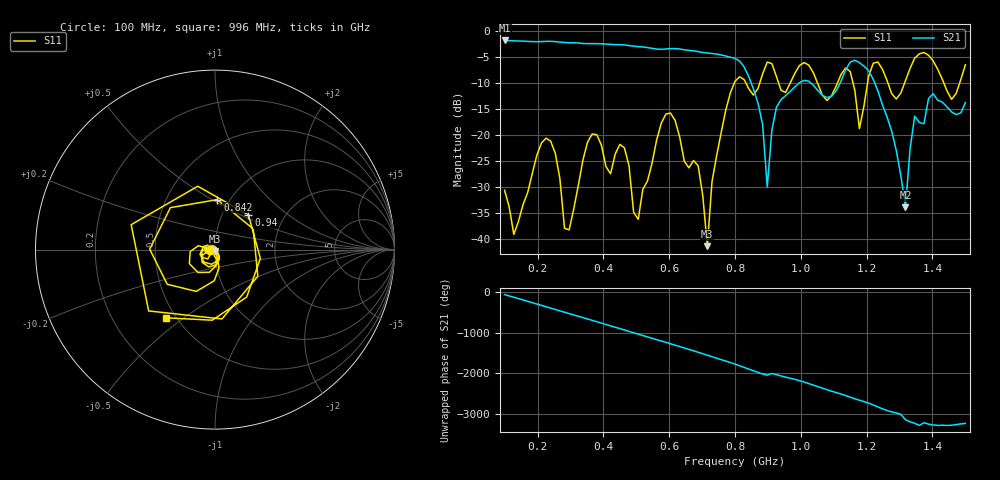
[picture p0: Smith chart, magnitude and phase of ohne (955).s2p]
! NanoVNA-App
! Date: 2025-09-25 14:28:14
! Start: 100MHz Stop: 1,5GHz Points: 101
! S-Parameter data: F S11 S21 S12 S22
# Hz S RI R 50
!  Frequency  S11_Real  S11_Imag  S21_Real  S21_Imag  S12_Real  S12_Imag  S22_Real  S22_Imag
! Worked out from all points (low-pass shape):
!   101 points, 100 MHz to 1.5 GHz, reference 50 ohm
!   highest |S21| = -1.79 dB at 100 MHz (marker M1); lowest = -33.9 dB at 1.318 GHz (marker M2)
!   |S21| within 3 dB of the highest: start of sweep to 772.1 MHz
!   lowest |S11| = -41.4 dB at 716 MHz (marker M3), VSWR 1.02, Z = 49.8 - j0.835 ohm
!   |S11| at or under -10 dB: start of sweep to 797.8 MHz; 833.3 MHz to 875.1 MHz (41.84 MHz wide, 4.9 % of centre); 1.051 GHz to 1.111 GHz (60.39 MHz wide, 5.59 % of centre) (the widest 3 of 7)
!   S12 and S22 are empty: the file has one direction only
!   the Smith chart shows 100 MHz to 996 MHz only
!   S11 on the Smith chart (normalised r, x): 100 MHz: 0.94, -0.01; 842 MHz: 0.88, +0.53; 940 MHz: 1.33, +0.55; 996 MHz: 0.44, -0.43
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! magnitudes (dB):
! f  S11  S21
! 100 MHz  -30.6  -1.8
! 128 MHz  -39.1  -1.9
! 226 MHz  -20.6  -2.0
! 296 MHz  -38.3  -2.2
! 338 MHz  -24.8  -2.4
! 464 MHz  -22.5  -2.7
! 506 MHz  -36.2  -3.0
! 576 MHz  -17.7  -3.5
! 688 MHz  -25.9  -3.9
! 716 MHz  -41.4  -4.2
! 800 MHz  -9.7  -5.2
! 842 MHz  -11.1  -8.8
! 898 MHz  -6.0  -30.0
! 940 MHz  -11.4  -13.2
! 996 MHz  -6.6  -9.9
! 1.038 GHz  -8.0  -10.4
! 1.178 GHz  -18.8  -6.1
! 1.22 GHz  -6.2  -9.3
! 1.276 GHz  -12.0  -19.2
! 1.318 GHz  -9.5  -33.9
! 1.346 GHz  -5.2  -16.4
! 1.5 GHz  -6.5  -13.8
